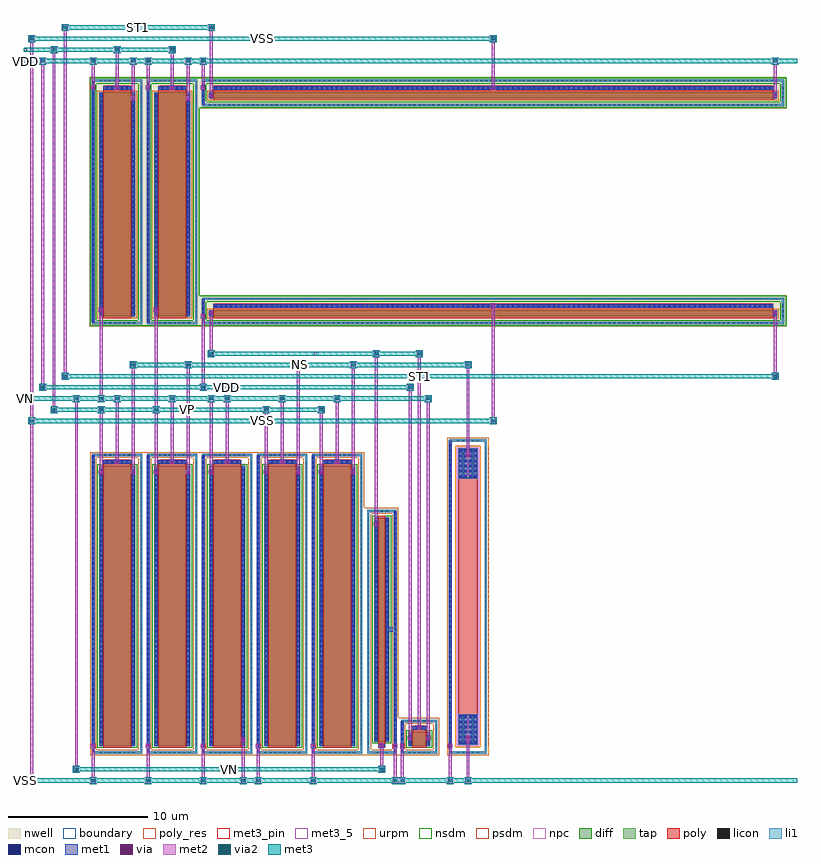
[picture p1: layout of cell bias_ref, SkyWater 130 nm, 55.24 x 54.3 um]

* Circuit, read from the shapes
.subckt bias_ref NS ST ST1 VDD VN VP VSS
XM1 NS VN VP VSS sky130_fd_pr__nfet_01v8 w=20 l=2 m=4
XM2 VSS VN VN VSS sky130_fd_pr__nfet_01v8 w=20 l=2
XM3 VSS VN ST VSS sky130_fd_pr__nfet_01v8 w=16 l=0.5
XM4 VN ST VDD VSS sky130_fd_pr__nfet_01v8 w=1 l=1
XM5 VDD VP VN VDD sky130_fd_pr__pfet_01v8 w=16 l=2
XM6 VDD VP VP VDD sky130_fd_pr__pfet_01v8 w=16 l=2
XM7 ST1 VSS ST VDD sky130_fd_pr__pfet_01v8 w=0.42 l=40
XM8 VDD VSS ST1 VDD sky130_fd_pr__pfet_01v8 w=0.42 l=40
XR9 NS VSS VSS sky130_fd_pr__res_xhigh_po w=1.41 l=16.88
.ends

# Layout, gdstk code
import gdstk
lib = gdstk.Library(unit=1e-6, precision=1e-09)
def R(c, l, rs):  # rectangles x0, y0, x1, y1
    for r in rs: c.add(gdstk.rectangle(r[:2], r[2:], *l))
def A(c, l, x, y, w, h, nx, ny, dx, dy):  # array of equal rectangles
    R(c, l, [(x+i*dx, y+j*dy, x+i*dx+w, y+j*dy+h) for i in range(nx) for j in range(ny)])
nwell = (64, 20)
diff = (65, 20)
tap = (65, 44)
poly_res = (66, 13)
poly = (66, 20)
licon = (66, 44)
li1 = (67, 20)
mcon = (67, 44)
met1 = (68, 20)
via = (68, 44)
met2 = (69, 20)
via2 = (69, 44)
met3_5 = (70, 5)
met3_pin = (70, 16)
met3 = (70, 20)
urpm = (79, 20)
nsdm = (93, 44)
psdm = (94, 20)
npc = (95, 20)
boundary = (235, 4)

nfet_botc0_guard1_l2_nf1 = lib.new_cell('nfet_botc0_guard1_l2_nf1_topc1_viagl100_w20')
R(nfet_botc0_guard1_l2_nf1, diff, [(-1.29,-10.155,1.29,9.845)])
R(nfet_botc0_guard1_l2_nf1, tap, [(-1.8,-10.715,1.8,-10.545), (-1.8,-10.545,-1.63,10.545), (1.63,-10.545,1.8,10.545), (-1.8,10.545,1.8,10.715)])
R(nfet_botc0_guard1_l2_nf1, poly, [(-1,-10.285,1,10.285)])
A(nfet_botc0_guard1_l2_nf1, licon, -1.275, -10.715, 0.17, 0.17, 8, 2, 0.34, 21.26)
A(nfet_botc0_guard1_l2_nf1, licon, -1.8, -10.115, 0.17, 0.17, 1, 60, 0, 0.34)
A(nfet_botc0_guard1_l2_nf1, licon, 1.63, -10.115, 0.17, 0.17, 1, 60, 0, 0.34)
A(nfet_botc0_guard1_l2_nf1, licon, -1.23, -9.93, 0.17, 0.17, 1, 58, 0, 0.34)
A(nfet_botc0_guard1_l2_nf1, licon, 1.06, -9.93, 0.17, 0.17, 1, 58, 0, 0.34)
A(nfet_botc0_guard1_l2_nf1, licon, -0.765, 10.035, 0.17, 0.17, 5, 1, 0.34, 0)
R(nfet_botc0_guard1_l2_nf1, li1, [(-1.8,-10.715,1.8,-10.545), (-1.8,-10.545,-1.63,10.545), (1.63,-10.545,1.8,10.545), (-1.23,-10.175,-1.06,9.865), (1.06,-10.175,1.23,9.865), (-1,10.035,1,10.205), (-1.8,10.545,1.8,10.715)])
A(nfet_botc0_guard1_l2_nf1, mcon, -1.8, -10.525, 0.17, 0.17, 1, 59, 0, 0.36)
A(nfet_botc0_guard1_l2_nf1, mcon, -1.23, -9.96, 0.17, 0.17, 1, 55, 0, 0.36)
A(nfet_botc0_guard1_l2_nf1, mcon, 1.06, -9.96, 0.17, 0.17, 1, 55, 0, 0.36)
A(nfet_botc0_guard1_l2_nf1, mcon, -0.805, 10.035, 0.17, 0.17, 5, 1, 0.36, 0)
R(nfet_botc0_guard1_l2_nf1, met1, [(-1.83,-10.605,-1.6,10.605), (-1.26,-10.155,-1.03,9.845), (1.03,-10.155,1.26,9.845), (-0.98,10.005,0.98,10.235)])
R(nfet_botc0_guard1_l2_nf1, nsdm, [(-1.415,-10.28,1.415,9.97)])
R(nfet_botc0_guard1_l2_nf1, psdm, [(-1.925,-10.84,1.925,-10.42), (-1.925,-10.42,-1.505,10.42), (1.505,-10.42,1.925,10.42), (-1.925,10.42,1.925,10.84)])
R(nfet_botc0_guard1_l2_nf1, npc, [(-0.865,9.935,0.865,10.305)])
R(nfet_botc0_guard1_l2_nf1, boundary, [(-1.715,-10.63,1.715,10.63)])
nfet_botc0_guard1_l2_nf1.add(gdstk.Label('B', (0,-10.63), layer=67, texttype=5))
nfet_botc0_guard1_l2_nf1.add(gdstk.Label('D', (-1.145,-0.155), layer=67, texttype=5))
nfet_botc0_guard1_l2_nf1.add(gdstk.Label('S', (1.145,-0.155), layer=67, texttype=5))
nfet_botc0_guard1_l2_nf1.add(gdstk.Label('G', (0,10.12), layer=67, texttype=5))

nfet_botc0_guard1_l0p5_n = lib.new_cell('nfet_botc0_guard1_l0p5_nf1_topc1_viagr100_w16')
R(nfet_botc0_guard1_l0p5_n, diff, [(-0.54,-8.155,0.54,7.845)])
R(nfet_botc0_guard1_l0p5_n, tap, [(-1.05,-8.715,1.05,-8.545), (-1.05,-8.545,-0.88,8.545), (0.88,-8.545,1.05,8.545), (-1.05,8.545,1.05,8.715)])
R(nfet_botc0_guard1_l0p5_n, poly, [(-0.25,-8.285,0.25,8.285)])
A(nfet_botc0_guard1_l0p5_n, licon, -0.425, -8.715, 0.17, 0.17, 3, 2, 0.34, 17.26)
A(nfet_botc0_guard1_l0p5_n, licon, -1.05, -8.075, 0.17, 0.17, 1, 48, 0, 0.34)
A(nfet_botc0_guard1_l0p5_n, licon, 0.88, -8.075, 0.17, 0.17, 1, 48, 0, 0.34)
A(nfet_botc0_guard1_l0p5_n, licon, -0.48, -8.06, 0.17, 0.17, 1, 47, 0, 0.34)
A(nfet_botc0_guard1_l0p5_n, licon, 0.31, -8.06, 0.17, 0.17, 1, 47, 0, 0.34)
R(nfet_botc0_guard1_l0p5_n, licon, [(-0.085,8.035,0.085,8.205)])
R(nfet_botc0_guard1_l0p5_n, li1, [(-1.05,-8.715,1.05,-8.545), (-1.05,-8.545,-0.88,8.545), (0.88,-8.545,1.05,8.545), (-0.48,-8.175,-0.31,7.865), (0.31,-8.175,0.48,7.865), (-0.25,8.035,0.25,8.205), (-1.05,8.545,1.05,8.715)])
A(nfet_botc0_guard1_l0p5_n, mcon, 0.88, -8.545, 0.17, 0.17, 1, 48, 0, 0.36)
A(nfet_botc0_guard1_l0p5_n, mcon, -0.48, -7.98, 0.17, 0.17, 1, 44, 0, 0.36)
A(nfet_botc0_guard1_l0p5_n, mcon, 0.31, -7.98, 0.17, 0.17, 1, 44, 0, 0.36)
R(nfet_botc0_guard1_l0p5_n, mcon, [(-0.085,8.035,0.085,8.205)])
R(nfet_botc0_guard1_l0p5_n, met1, [(0.85,-8.605,1.08,8.605), (-0.51,-8.155,-0.28,7.845), (0.28,-8.155,0.51,7.845), (-0.23,8.005,0.23,8.235)])
R(nfet_botc0_guard1_l0p5_n, nsdm, [(-0.665,-8.28,0.665,7.97)])
R(nfet_botc0_guard1_l0p5_n, psdm, [(-1.175,-8.84,1.175,-8.42), (-1.175,-8.42,-0.755,8.42), (0.755,-8.42,1.175,8.42), (-1.175,8.42,1.175,8.84)])
R(nfet_botc0_guard1_l0p5_n, npc, [(-0.185,7.935,0.185,8.305)])
R(nfet_botc0_guard1_l0p5_n, boundary, [(-0.965,-8.63,0.965,8.63)])
nfet_botc0_guard1_l0p5_n.add(gdstk.Label('B', (0,-8.63), layer=67, texttype=5))
nfet_botc0_guard1_l0p5_n.add(gdstk.Label('D', (-0.395,-0.155), layer=67, texttype=5))
nfet_botc0_guard1_l0p5_n.add(gdstk.Label('S', (0.395,-0.155), layer=67, texttype=5))
nfet_botc0_guard1_l0p5_n.add(gdstk.Label('G', (0,8.12), layer=67, texttype=5))

nfet_botc0_guard1_l1_nf1 = lib.new_cell('nfet_botc0_guard1_l1_nf1_topc1_viagl100_w1')
R(nfet_botc0_guard1_l1_nf1, diff, [(-0.79,-0.655,0.79,0.345)])
R(nfet_botc0_guard1_l1_nf1, tap, [(-1.3,-1.215,1.3,-1.045), (-1.3,-1.045,-1.13,1.045), (1.13,-1.045,1.3,1.045), (-1.3,1.045,1.3,1.215)])
R(nfet_botc0_guard1_l1_nf1, poly, [(-0.5,-0.785,0.5,0.785)])
A(nfet_botc0_guard1_l1_nf1, licon, -0.765, -1.215, 0.17, 0.17, 5, 2, 0.34, 2.26)
A(nfet_botc0_guard1_l1_nf1, licon, -1.3, -0.595, 0.17, 0.17, 1, 4, 0, 0.34)
A(nfet_botc0_guard1_l1_nf1, licon, 1.13, -0.595, 0.17, 0.17, 1, 4, 0, 0.34)
A(nfet_botc0_guard1_l1_nf1, licon, -0.73, -0.58, 0.17, 0.17, 1, 3, 0, 0.34)
A(nfet_botc0_guard1_l1_nf1, licon, 0.56, -0.58, 0.17, 0.17, 1, 3, 0, 0.34)
R(nfet_botc0_guard1_l1_nf1, licon, [(-0.255,0.535,-0.085,0.705), (0.085,0.535,0.255,0.705)])
R(nfet_botc0_guard1_l1_nf1, li1, [(-1.3,-1.215,1.3,-1.045), (-1.3,-1.045,-1.13,1.045), (1.13,-1.045,1.3,1.045), (-0.73,-0.675,-0.56,0.365), (0.56,-0.675,0.73,0.365), (-0.5,0.535,0.5,0.705), (-1.3,1.045,1.3,1.215)])
A(nfet_botc0_guard1_l1_nf1, mcon, -1.3, -0.985, 0.17, 0.17, 1, 6, 0, 0.36)
R(nfet_botc0_guard1_l1_nf1, mcon, [(-0.73,-0.42,-0.56,-0.25), (0.56,-0.42,0.73,-0.25), (-0.73,-0.06,-0.56,0.11), (0.56,-0.06,0.73,0.11), (-0.265,0.535,-0.095,0.705), (0.095,0.535,0.265,0.705)])
R(nfet_botc0_guard1_l1_nf1, met1, [(-1.33,-1.105,-1.1,1.105), (-0.76,-0.655,-0.53,0.345), (0.53,-0.655,0.76,0.345), (-0.48,0.505,0.48,0.735)])
R(nfet_botc0_guard1_l1_nf1, nsdm, [(-0.915,-0.78,0.915,0.47)])
R(nfet_botc0_guard1_l1_nf1, psdm, [(-1.425,-1.34,1.425,-0.92), (-1.425,-0.92,-1.005,0.92), (1.005,-0.92,1.425,0.92), (-1.425,0.92,1.425,1.34)])
R(nfet_botc0_guard1_l1_nf1, npc, [(-0.355,0.435,0.355,0.805)])
R(nfet_botc0_guard1_l1_nf1, boundary, [(-1.215,-1.13,1.215,1.13)])
nfet_botc0_guard1_l1_nf1.add(gdstk.Label('B', (0,-1.13), layer=67, texttype=5))
nfet_botc0_guard1_l1_nf1.add(gdstk.Label('D', (-0.645,-0.155), layer=67, texttype=5))
nfet_botc0_guard1_l1_nf1.add(gdstk.Label('S', (0.645,-0.155), layer=67, texttype=5))
nfet_botc0_guard1_l1_nf1.add(gdstk.Label('G', (0,0.62), layer=67, texttype=5))

rxh141_guard1_l17_viagl1 = lib.new_cell('rxh141_guard1_l17_viagl100')
R(rxh141_guard1_l17_viagl1, tap, [(-1.355,-11.23,1.355,-11.06), (-1.355,-11.06,-1.185,11.06), (1.185,-11.06,1.355,11.06), (-1.355,11.06,1.355,11.23)])
R(rxh141_guard1_l17_viagl1, poly_res, [(-0.705,-8.5,0.705,8.5)])
R(rxh141_guard1_l17_viagl1, poly, [(-0.705,-10.58,0.705,10.58)])
A(rxh141_guard1_l17_viagl1, licon, -0.765, -11.23, 0.17, 0.17, 5, 2, 0.34, 22.29)
A(rxh141_guard1_l17_viagl1, licon, -1.355, -10.625, 0.17, 0.17, 1, 63, 0, 0.34)
A(rxh141_guard1_l17_viagl1, licon, 1.185, -10.625, 0.17, 0.17, 1, 63, 0, 0.34)
R(rxh141_guard1_l17_viagl1, licon, [(-0.45,-10.5,-0.26,-8.5), (0.26,-10.5,0.45,-8.5), (-0.45,8.5,-0.26,10.5), (0.26,8.5,0.45,10.5)])
R(rxh141_guard1_l17_viagl1, li1, [(-1.355,-11.23,1.355,-11.06), (-1.355,-11.06,-1.185,11.06), (1.185,-11.06,1.355,11.06), (-0.705,-10.58,0.705,-8.42), (-0.705,8.42,0.705,10.58), (-1.355,11.06,1.355,11.23)])
A(rxh141_guard1_l17_viagl1, mcon, -1.355, -10.885, 0.17, 0.17, 1, 61, 0, 0.36)
A(rxh141_guard1_l17_viagl1, mcon, -0.625, -10.485, 0.17, 0.17, 4, 6, 0.36, 0.36)
A(rxh141_guard1_l17_viagl1, mcon, -0.625, 8.51, 0.17, 0.17, 4, 6, 0.36, 0.36)
R(rxh141_guard1_l17_viagl1, met1, [(-1.385,-11.12,-1.155,11.12), (-0.655,-10.55,0.655,-8.445), (-0.655,8.445,0.655,10.55)])
R(rxh141_guard1_l17_viagl1, urpm, [(-0.905,-10.78,0.905,10.78)])
R(rxh141_guard1_l17_viagl1, psdm, [(-1.48,-11.355,1.48,11.355)])
R(rxh141_guard1_l17_viagl1, npc, [(-0.8,-10.675,0.8,10.675)])
R(rxh141_guard1_l17_viagl1, boundary, [(-1.27,-11.145,1.27,11.145)])
rxh141_guard1_l17_viagl1.add(gdstk.Label('B', (0,-11.145), layer=67, texttype=5))
rxh141_guard1_l17_viagl1.add(gdstk.Label('R1', (0,10.405), layer=67, texttype=5))
rxh141_guard1_l17_viagl1.add(gdstk.Label('R2', (0,-10.405), layer=67, texttype=5))

pfet_botc0_guard1_l2_nf1 = lib.new_cell('pfet_botc0_guard1_l2_nf1_topc1_viagl100_w16')
R(pfet_botc0_guard1_l2_nf1, nwell, [(-1.98,-8.92,1.98,8.92)])
R(pfet_botc0_guard1_l2_nf1, diff, [(-1.29,-8.18,1.29,7.82)])
R(pfet_botc0_guard1_l2_nf1, tap, [(-1.8,-8.74,1.8,-8.57), (-1.8,-8.57,-1.63,8.57), (1.63,-8.57,1.8,8.57), (-1.8,8.57,1.8,8.74)])
R(pfet_botc0_guard1_l2_nf1, poly, [(-1,-8.31,1,8.305)])
A(pfet_botc0_guard1_l2_nf1, licon, -1.275, -8.74, 0.17, 0.17, 8, 2, 0.34, 17.31)
A(pfet_botc0_guard1_l2_nf1, licon, -1.8, -8.245, 0.17, 0.17, 1, 49, 0, 0.34)
A(pfet_botc0_guard1_l2_nf1, licon, 1.63, -8.245, 0.17, 0.17, 1, 49, 0, 0.34)
A(pfet_botc0_guard1_l2_nf1, licon, -1.23, -8.085, 0.17, 0.17, 1, 47, 0, 0.34)
A(pfet_botc0_guard1_l2_nf1, licon, 1.06, -8.085, 0.17, 0.17, 1, 47, 0, 0.34)
A(pfet_botc0_guard1_l2_nf1, licon, -0.765, 8.055, 0.17, 0.17, 5, 1, 0.34, 0)
R(pfet_botc0_guard1_l2_nf1, li1, [(-1.8,-8.74,1.8,-8.57), (-1.8,-8.57,-1.63,8.57), (1.63,-8.57,1.8,8.57), (-1.23,-8.2,-1.06,7.84), (1.06,-8.2,1.23,7.84), (-1,8.055,1,8.225), (-1.8,8.57,1.8,8.74)])
A(pfet_botc0_guard1_l2_nf1, mcon, -1.8, -8.545, 0.17, 0.17, 1, 48, 0, 0.36)
A(pfet_botc0_guard1_l2_nf1, mcon, -1.23, -8.005, 0.17, 0.17, 1, 44, 0, 0.36)
A(pfet_botc0_guard1_l2_nf1, mcon, 1.06, -8.005, 0.17, 0.17, 1, 44, 0, 0.36)
A(pfet_botc0_guard1_l2_nf1, mcon, -0.805, 8.055, 0.17, 0.17, 5, 1, 0.36, 0)
R(pfet_botc0_guard1_l2_nf1, met1, [(-1.83,-8.63,-1.6,8.63), (-1.26,-8.18,-1.03,7.82), (1.03,-8.18,1.26,7.82), (-0.98,8.025,0.98,8.255)])
R(pfet_botc0_guard1_l2_nf1, nsdm, [(-1.925,-8.865,1.925,-8.445), (-1.925,-8.445,-1.505,8.445), (1.505,-8.445,1.925,8.445), (-1.925,8.445,1.925,8.865)])
R(pfet_botc0_guard1_l2_nf1, psdm, [(-1.415,-8.305,1.415,7.945)])
R(pfet_botc0_guard1_l2_nf1, npc, [(-0.865,7.955,0.865,8.325)])
R(pfet_botc0_guard1_l2_nf1, boundary, [(-1.715,-8.655,1.715,8.655)])
pfet_botc0_guard1_l2_nf1.add(gdstk.Label('B', (0,-8.655), layer=67, texttype=5))
pfet_botc0_guard1_l2_nf1.add(gdstk.Label('D', (-1.145,-0.18), layer=67, texttype=5))
pfet_botc0_guard1_l2_nf1.add(gdstk.Label('S', (1.145,-0.18), layer=67, texttype=5))
pfet_botc0_guard1_l2_nf1.add(gdstk.Label('G', (0,8.14), layer=67, texttype=5))

pfet_botc0_guard1_l40_nf = lib.new_cell('pfet_botc0_guard1_l40_nf1_topc1_viagl100_w0p42')
R(pfet_botc0_guard1_l40_nf, nwell, [(-20.98,-1.13,20.98,1.13)])
R(pfet_botc0_guard1_l40_nf, diff, [(-20.29,-0.39,20.29,0.03)])
R(pfet_botc0_guard1_l40_nf, tap, [(-20.8,-0.95,20.8,-0.78), (-20.8,-0.78,-20.63,0.78), (20.63,-0.78,20.8,0.78), (-20.8,0.78,20.8,0.95)])
R(pfet_botc0_guard1_l40_nf, poly, [(-20,-0.52,20,0.515)])
A(pfet_botc0_guard1_l40_nf, licon, -20.315, -0.95, 0.17, 0.17, 120, 2, 0.34, 1.73)
A(pfet_botc0_guard1_l40_nf, licon, -20.8, -0.425, 0.17, 0.17, 1, 3, 0, 0.34)
A(pfet_botc0_guard1_l40_nf, licon, 20.63, -0.425, 0.17, 0.17, 1, 3, 0, 0.34)
A(pfet_botc0_guard1_l40_nf, licon, -19.805, 0.265, 0.17, 0.17, 117, 1, 0.34, 0)
R(pfet_botc0_guard1_l40_nf, licon, [(-20.23,-0.265,-20.06,-0.095), (20.06,-0.265,20.23,-0.095)])
R(pfet_botc0_guard1_l40_nf, li1, [(-20.8,-0.95,20.8,-0.78), (-20.8,-0.78,-20.63,0.78), (20.63,-0.78,20.8,0.78), (-20.23,-0.41,-20.06,0.05), (20.06,-0.41,20.23,0.05), (-20,0.265,20,0.435), (-20.8,0.78,20.8,0.95)])
A(pfet_botc0_guard1_l40_nf, mcon, -20.8, -0.625, 0.17, 0.17, 1, 4, 0, 0.36)
A(pfet_botc0_guard1_l40_nf, mcon, -19.885, 0.265, 0.17, 0.17, 111, 1, 0.36, 0)
R(pfet_botc0_guard1_l40_nf, mcon, [(-20.23,-0.265,-20.06,-0.095), (20.06,-0.265,20.23,-0.095)])
R(pfet_botc0_guard1_l40_nf, met1, [(-20.83,-0.84,-20.6,0.84), (-20.26,-0.39,-20.03,0.03), (20.03,-0.39,20.26,0.03), (-19.98,0.235,19.98,0.465)])
R(pfet_botc0_guard1_l40_nf, nsdm, [(-20.925,-1.075,20.925,-0.655), (-20.925,-0.655,-20.505,0.655), (20.505,-0.655,20.925,0.655), (-20.925,0.655,20.925,1.075)])
R(pfet_botc0_guard1_l40_nf, psdm, [(-20.415,-0.515,20.415,0.155)])
R(pfet_botc0_guard1_l40_nf, npc, [(-19.905,0.165,19.905,0.535)])
R(pfet_botc0_guard1_l40_nf, boundary, [(-20.715,-0.865,20.715,0.865)])
pfet_botc0_guard1_l40_nf.add(gdstk.Label('B', (0,-0.865), layer=67, texttype=5))
pfet_botc0_guard1_l40_nf.add(gdstk.Label('D', (-20.145,-0.18), layer=67, texttype=5))
pfet_botc0_guard1_l40_nf.add(gdstk.Label('S', (20.145,-0.18), layer=67, texttype=5))
pfet_botc0_guard1_l40_nf.add(gdstk.Label('G', (0,0.35), layer=67, texttype=5))

bias_ref = lib.new_cell('bias_ref')
A(bias_ref, met1, 5.04, 2.915, 0.32, 0.32, 5, 1, 3.93, 0)
A(bias_ref, met1, 6.755, 23.235, 0.32, 0.32, 5, 1, 3.93, 0)
A(bias_ref, met1, 5.04, 49.965, 0.32, 0.32, 3, 1, 3.93, 0)
R(bias_ref, met1, [(25.655,2.905,25.975,3.225), (26.62,2.915,26.94,3.235), (27.12,2.915,27.44,3.235), (30.55,2.915,30.87,3.235), (15.76,3.365,16.08,3.685), (27.69,3.465,28.01,3.785), (28.98,3.465,29.3,3.785), (31.82,3.485,32.14,3.805), (28.335,4.235,28.655,4.555), (26.095,11.235,26.895,11.535), (25.26,18.775,25.58,19.095), (5.61,22.465,5.93,22.785), (7.9,22.465,8.22,22.785), (9.54,22.465,9.86,22.785), (11.83,22.465,12.15,22.785), (13.47,22.465,13.79,22.785), (17.4,22.465,17.72,22.785), (19.69,22.465,20.01,22.785), (21.33,22.465,21.65,22.785), (23.62,22.465,23.94,22.785), (31.82,23.685,32.14,24.005), (12.9,33.605,13.22,33.925), (13.47,33.815,13.79,34.135), (53.76,33.815,54.08,34.135), (5.61,34.055,5.93,34.375), (9.54,34.055,9.86,34.375), (33.615,34.39,33.935,34.71), (7.9,49.155,8.22,49.475), (11.83,49.155,12.15,49.475), (13.47,49.395,13.79,49.715), (53.76,49.395,54.08,49.715), (6.755,49.97,7.075,50.29), (10.685,49.97,11.005,50.29), (33.615,49.97,33.935,50.29)])
A(bias_ref, via, 5.125, 3, 0.15, 0.15, 5, 1, 3.93, 0)
A(bias_ref, via, 6.84, 23.32, 0.15, 0.15, 5, 1, 3.93, 0)
A(bias_ref, via, 5.125, 50.05, 0.15, 0.15, 3, 1, 3.93, 0)
R(bias_ref, via, [(25.74,2.99,25.89,3.14), (26.705,3,26.855,3.15), (27.205,3,27.355,3.15), (30.635,3,30.785,3.15), (15.845,3.45,15.995,3.6), (27.775,3.55,27.925,3.7), (29.065,3.55,29.215,3.7), (31.905,3.57,32.055,3.72), (28.42,4.32,28.57,4.47), (25.345,18.86,25.495,19.01), (5.695,22.55,5.845,22.7), (7.985,22.55,8.135,22.7), (9.625,22.55,9.775,22.7), (11.915,22.55,12.065,22.7), (13.555,22.55,13.705,22.7), (17.485,22.55,17.635,22.7), (19.775,22.55,19.925,22.7), (21.415,22.55,21.565,22.7), (23.705,22.55,23.855,22.7), (31.905,23.77,32.055,23.92), (12.985,33.69,13.135,33.84), (13.555,33.9,13.705,34.05), (53.845,33.9,53.995,34.05), (5.695,34.14,5.845,34.29), (9.625,34.14,9.775,34.29), (33.7,34.475,33.85,34.625), (7.985,49.24,8.135,49.39), (11.915,49.24,12.065,49.39), (13.555,49.48,13.705,49.63), (53.845,49.48,53.995,49.63), (6.84,50.055,6.99,50.205), (10.77,50.055,10.92,50.205), (33.7,50.055,33.85,50.205)])
A(bias_ref, met2, 5.015, 0.415, 0.37, 0.37, 3, 1, 3.93, 0)
A(bias_ref, met2, 5.1, 0.785, 0.2, 2.13, 5, 1, 3.93, 0)
A(bias_ref, met2, 5.04, 2.915, 0.32, 0.32, 5, 1, 3.93, 0)
A(bias_ref, met2, 6.755, 23.235, 0.32, 0.32, 5, 1, 3.93, 0)
A(bias_ref, met2, 6.815, 23.555, 0.2, 4.15, 5, 1, 3.93, 0)
A(bias_ref, met2, 14.59, 27.705, 0.37, 0.37, 3, 1, 3.93, 0)
A(bias_ref, met2, 5.04, 49.965, 0.32, 0.32, 3, 1, 3.93, 0)
A(bias_ref, met2, 5.1, 50.285, 0.2, 1.53, 3, 1, 3.93, 0)
R(bias_ref, met2, [(0.615,0.415,0.985,0.785), (15.735,0.415,16.105,0.785), (16.805,0.415,17.175,0.785), (20.735,0.415,21.105,0.785), (26.595,0.415,27.465,0.785), (30.525,0.415,30.895,0.785), (31.795,0.415,32.165,0.785), (0.7,0.785,0.9,26.105), (15.82,0.785,16.02,3.365), (26.68,0.785,26.88,2.915), (27.18,0.785,27.38,2.915), (30.61,0.785,30.81,2.915), (31.88,0.785,32.08,3.485), (3.815,1.215,4.185,1.585), (25.63,1.215,26,1.585), (3.9,1.585,4.1,27.705), (25.715,1.585,25.915,2.905), (25.655,2.905,25.975,3.225), (26.62,2.915,26.94,3.235), (27.12,2.915,27.44,3.235), (30.55,2.915,30.87,3.235), (15.76,3.365,16.08,3.685), (27.69,3.465,28.01,3.785), (28.98,3.465,29.3,3.785), (31.82,3.485,32.14,3.805), (27.75,3.785,27.95,28.505), (29.04,3.785,29.24,27.705), (28.335,4.235,28.655,4.555), (28.395,4.555,28.595,30.905), (25.26,18.775,25.58,19.095), (25.32,19.095,25.52,30.905), (5.61,22.465,5.93,22.785), (7.9,22.465,8.22,22.785), (9.54,22.465,9.86,22.785), (11.83,22.465,12.15,22.785), (13.47,22.465,13.79,22.785), (17.4,22.465,17.72,22.785), (19.69,22.465,20.01,22.785), (21.33,22.465,21.65,22.785), (23.62,22.465,23.94,22.785), (5.67,22.785,5.87,26.905), (7.96,22.785,8.16,30.105), (9.6,22.785,9.8,26.905), (11.89,22.785,12.09,30.105), (13.53,22.785,13.73,27.705), (17.46,22.785,17.66,26.905), (19.75,22.785,19.95,30.105), (21.39,22.785,21.59,26.905), (23.68,22.785,23.88,30.105), (31.82,23.685,32.14,24.005), (31.88,24.005,32.08,30.105), (0.615,26.105,0.985,26.475), (33.59,26.105,33.96,26.475), (0.7,26.475,0.9,53.415), (33.675,26.475,33.875,34.39), (2.215,26.905,2.585,27.275), (5.585,26.905,5.955,27.275), (9.515,26.905,9.885,27.275), (17.375,26.905,17.745,27.275), (21.305,26.905,21.675,27.275), (2.3,27.275,2.5,52.615), (9.6,27.275,9.8,34.055), (3.815,27.705,4.185,28.075), (5.585,27.705,5.955,28.075), (6.73,27.705,7.1,28.075), (10.66,27.705,11.03,28.075), (13.445,27.705,13.815,28.075), (28.955,27.705,29.325,28.075), (5.67,28.075,5.87,34.055), (1.415,28.505,1.785,28.875), (12.875,28.505,13.245,28.875), (27.665,28.505,28.035,28.875), (1.5,28.875,1.7,51.815), (12.96,28.875,13.16,33.605), (3.015,29.305,3.385,29.675), (53.735,29.305,54.105,29.675), (3.1,29.675,3.3,54.215), (53.82,29.675,54.02,33.815), (7.875,30.105,8.245,30.475), (11.805,30.105,12.175,30.475), (19.665,30.105,20.035,30.475), (23.595,30.105,23.965,30.475), (31.795,30.105,32.165,30.475), (13.445,30.905,13.815,31.275), (25.235,30.905,25.605,31.275), (28.31,30.905,28.68,31.275), (13.53,31.275,13.73,33.815), (12.9,33.605,13.22,33.925), (13.47,33.815,13.79,34.135), (53.76,33.815,54.08,34.135), (5.61,34.055,5.93,34.375), (9.54,34.055,9.86,34.375), (33.615,34.39,33.935,34.71), (7.9,49.155,8.22,49.475), (11.83,49.155,12.15,49.475), (13.47,49.395,13.79,49.715), (53.76,49.395,54.08,49.715), (7.96,49.475,8.16,51.815), (11.89,49.475,12.09,51.815), (13.53,49.715,13.73,54.215), (53.82,49.715,54.02,51.815), (6.755,49.97,7.075,50.29), (10.685,49.97,11.005,50.29), (33.615,49.97,33.935,50.29), (6.815,50.29,7.015,52.615), (10.745,50.29,10.945,52.615), (33.675,50.29,33.875,53.415), (1.415,51.815,1.785,52.185), (5.015,51.815,5.385,52.185), (7.875,51.815,8.245,52.185), (8.945,51.815,9.315,52.185), (11.805,51.815,12.175,52.185), (12.875,51.815,13.245,52.185), (53.735,51.815,54.105,52.185), (2.215,52.615,2.585,52.985), (6.73,52.615,7.1,52.985), (10.66,52.615,11.03,52.985), (0.615,53.415,0.985,53.785), (33.59,53.415,33.96,53.785), (3.015,54.215,3.385,54.585), (13.445,54.215,13.815,54.585)])
A(bias_ref, via2, 5.1, 0.5, 0.2, 0.2, 3, 1, 3.93, 0)
A(bias_ref, via2, 14.675, 27.79, 0.2, 0.2, 3, 1, 3.93, 0)
R(bias_ref, via2, [(0.7,0.5,0.9,0.7), (15.82,0.5,16.02,0.7), (16.89,0.5,17.09,0.7), (20.82,0.5,21.02,0.7), (26.68,0.5,26.88,0.7), (27.18,0.5,27.38,0.7), (30.61,0.5,30.81,0.7), (31.88,0.5,32.08,0.7), (3.9,1.3,4.1,1.5), (25.715,1.3,25.915,1.5), (0.7,26.19,0.9,26.39), (33.675,26.19,33.875,26.39), (2.3,26.99,2.5,27.19), (5.67,26.99,5.87,27.19), (9.6,26.99,9.8,27.19), (17.46,26.99,17.66,27.19), (21.39,26.99,21.59,27.19), (3.9,27.79,4.1,27.99), (5.67,27.79,5.87,27.99), (6.815,27.79,7.015,27.99), (10.745,27.79,10.945,27.99), (13.53,27.79,13.73,27.99), (29.04,27.79,29.24,27.99), (1.5,28.59,1.7,28.79), (12.96,28.59,13.16,28.79), (27.75,28.59,27.95,28.79), (3.1,29.39,3.3,29.59), (53.82,29.39,54.02,29.59), (7.96,30.19,8.16,30.39), (11.89,30.19,12.09,30.39), (19.75,30.19,19.95,30.39), (23.68,30.19,23.88,30.39), (31.88,30.19,32.08,30.39), (13.53,30.99,13.73,31.19), (25.32,30.99,25.52,31.19), (28.395,30.99,28.595,31.19), (1.5,51.9,1.7,52.1), (5.1,51.9,5.3,52.1), (7.96,51.9,8.16,52.1), (9.03,51.9,9.23,52.1), (11.89,51.9,12.09,52.1), (12.96,51.9,13.16,52.1), (53.82,51.9,54.02,52.1), (2.3,52.7,2.5,52.9), (6.815,52.7,7.015,52.9), (10.745,52.7,10.945,52.9), (0.7,53.5,0.9,53.7), (33.675,53.5,33.875,53.7), (3.1,54.3,3.3,54.5), (13.53,54.3,13.73,54.5)])
R(bias_ref, met3_5, [(14.81,1.3,15.01,1.5), (17.185,26.19,17.385,26.39), (11.845,26.99,12.045,27.19), (14.625,28.59,14.825,28.79), (28.46,29.39,28.66,29.59), (19.92,30.19,20.12,30.39), (20.96,30.99,21.16,31.19), (17.185,53.5,17.385,53.7), (8.315,54.3,8.515,54.5)])
R(bias_ref, met3_pin, [(0.25,0.5,0.45,0.7), (0.25,27.79,0.45,27.99), (0.25,51.9,0.45,52.1), (0.25,52.7,0.45,52.9)])
A(bias_ref, met3, 4.95, 0.35, 0.5, 0.1, 3, 2, 3.93, 0.4)
A(bias_ref, met3, 5.52, 26.84, 0.5, 0.1, 1, 4, 0, 0.4)
A(bias_ref, met3, 14.525, 27.64, 0.5, 0.1, 3, 2, 3.93, 0.4)
R(bias_ref, met3, [(0.55,0.35,1.05,0.45), (15.67,0.35,16.17,0.45), (16.74,0.35,17.24,0.45), (20.67,0.35,21.17,0.45), (26.53,0.35,27.53,0.45), (30.46,0.35,30.96,0.45), (31.73,0.35,32.23,0.45), (0.25,0.45,55.49,0.75), (0.55,0.75,1.05,0.85), (15.67,0.75,16.17,0.85), (16.74,0.75,17.24,0.85), (20.67,0.75,21.17,0.85), (26.53,0.75,27.53,0.85), (30.46,0.75,30.96,0.85), (31.73,0.75,32.23,0.85), (3.75,1.15,4.25,1.25), (25.565,1.15,26.065,1.25), (3.75,1.25,26.065,1.55), (3.75,1.55,4.25,1.65), (25.565,1.55,26.065,1.65), (0.55,26.04,1.05,26.14), (33.525,26.04,34.025,26.14), (0.55,26.14,34.025,26.44), (0.55,26.44,1.05,26.54), (33.525,26.44,34.025,26.54), (2.15,26.84,2.65,26.94), (9.45,26.84,9.95,26.94), (17.31,26.84,17.81,26.94), (21.24,26.84,21.74,26.94), (2.15,26.94,21.74,27.24), (2.15,27.24,2.65,27.34), (9.45,27.24,9.95,27.34), (17.31,27.24,17.81,27.34), (21.24,27.24,21.74,27.34), (3.75,27.64,4.25,27.74), (6.665,27.64,7.165,27.74), (10.595,27.64,11.095,27.74), (13.38,27.64,13.88,27.74), (28.89,27.64,29.39,27.74), (0.25,27.74,29.39,28.04), (3.75,28.04,4.25,28.14), (6.665,28.04,7.165,28.14), (10.595,28.04,11.095,28.14), (13.38,28.04,13.88,28.14), (28.89,28.04,29.39,28.14), (1.35,28.44,1.85,28.54), (12.81,28.44,13.31,28.54), (27.6,28.44,28.1,28.54), (1.35,28.54,28.1,28.84), (1.35,28.84,1.85,28.94), (12.81,28.84,13.31,28.94), (27.6,28.84,28.1,28.94), (2.95,29.24,3.45,29.34), (53.67,29.24,54.17,29.34), (2.95,29.34,54.17,29.64), (2.95,29.64,3.45,29.74), (53.67,29.64,54.17,29.74), (7.81,30.04,8.31,30.14), (11.74,30.04,12.24,30.14), (19.6,30.04,20.1,30.14), (23.53,30.04,24.03,30.14), (31.73,30.04,32.23,30.14), (7.81,30.14,32.23,30.44), (7.81,30.44,8.31,30.54), (11.74,30.44,12.24,30.54), (19.6,30.44,20.1,30.54), (23.53,30.44,24.03,30.54), (31.73,30.44,32.23,30.54), (13.38,30.84,13.88,30.94), (25.17,30.84,25.67,30.94), (28.245,30.84,28.745,30.94), (13.38,30.94,28.745,31.24), (13.38,31.24,13.88,31.34), (25.17,31.24,25.67,31.34), (28.245,31.24,28.745,31.34), (1.35,51.75,1.85,51.85), (4.95,51.75,5.45,51.85), (7.81,51.75,8.31,51.85), (8.88,51.75,9.38,51.85), (11.74,51.75,12.24,51.85), (12.81,51.75,13.31,51.85), (53.67,51.75,54.17,51.85), (0.25,51.85,55.49,52.15), (1.35,52.15,1.85,52.25), (4.95,52.15,5.45,52.25), (7.81,52.15,8.31,52.25), (8.88,52.15,9.38,52.25), (11.74,52.15,12.24,52.25), (12.81,52.15,13.31,52.25), (53.67,52.15,54.17,52.25), (2.15,52.55,2.65,52.65), (6.665,52.55,7.165,52.65), (10.595,52.55,11.095,52.65), (0.25,52.65,11.095,52.95), (2.15,52.95,2.65,53.05), (6.665,52.95,7.165,53.05), (10.595,52.95,11.095,53.05), (0.55,53.35,1.05,53.45), (33.525,53.35,34.025,53.45), (0.55,53.45,34.025,53.75), (0.55,53.75,1.05,53.85), (33.525,53.75,34.025,53.85), (2.95,54.15,3.45,54.25), (13.38,54.15,13.88,54.25), (2.95,54.25,13.88,54.55), (2.95,54.55,3.45,54.65), (13.38,54.55,13.88,54.65)])
R(bias_ref, nsdm, [(8.84,33.08,8.92,50.81), (12.77,33.08,12.85,35.23), (12.77,48.66,12.85,50.81)])
A(bias_ref, psdm, 8.84, 2.39, 0.08, 21.68, 4, 1, 3.93, 0)
R(bias_ref, psdm, [(24.56,2.39,24.64,20.07), (26.99,2.39,27.07,5.07)])
bias_ref.add(gdstk.Reference(nfet_botc0_guard1_l2_nf1, (6.915,13.23)))
bias_ref.add(gdstk.Reference(nfet_botc0_guard1_l2_nf1, (10.845,13.23)))
bias_ref.add(gdstk.Reference(nfet_botc0_guard1_l2_nf1, (14.775,13.23)))
bias_ref.add(gdstk.Reference(nfet_botc0_guard1_l2_nf1, (18.705,13.23)))
bias_ref.add(gdstk.Reference(nfet_botc0_guard1_l2_nf1, (22.635,13.23)))
bias_ref.add(gdstk.Reference(nfet_botc0_guard1_l0p5_n, (25.815,11.23), x_reflection=True))
bias_ref.add(gdstk.Reference(nfet_botc0_guard1_l1_nf1, (28.495,3.73)))
bias_ref.add(gdstk.Reference(rxh141_guard1_l17_viagl1, (31.98,13.745)))
bias_ref.add(gdstk.Reference(pfet_botc0_guard1_l2_nf1, (6.915,41.945)))
bias_ref.add(gdstk.Reference(pfet_botc0_guard1_l2_nf1, (10.845,41.945)))
bias_ref.add(gdstk.Reference(pfet_botc0_guard1_l40_nf, (33.775,34.155)))
bias_ref.add(gdstk.Reference(pfet_botc0_guard1_l40_nf, (33.775,49.735)))
bias_ref.add(gdstk.Label('VN', (14.91,1.4), layer=70, texttype=5))
bias_ref.add(gdstk.Label('VDD', (14.725,28.69), layer=70, texttype=5))
bias_ref.add(gdstk.Label('VSS', (17.285,26.29), layer=70, texttype=5))
bias_ref.add(gdstk.Label('ST1', (28.56,29.49), layer=70, texttype=5))
bias_ref.add(gdstk.Label('VSS', (17.285,53.6), layer=70, texttype=5))
bias_ref.add(gdstk.Label('ST1', (8.415,54.4), layer=70, texttype=5))
bias_ref.add(gdstk.Label('NS', (20.02,30.29), layer=70, texttype=5))
bias_ref.add(gdstk.Label('ST', (21.06,31.09), layer=70, texttype=5))
bias_ref.add(gdstk.Label('VP', (11.945,27.09), layer=70, texttype=5))
bias_ref.add(gdstk.Label('VDD', (0.35,52), layer=70, texttype=5))
bias_ref.add(gdstk.Label('VSS', (0.35,0.6), layer=70, texttype=5))
bias_ref.add(gdstk.Label('VP', (0.35,52.8), layer=70, texttype=5))
bias_ref.add(gdstk.Label('VN', (0.35,27.89), layer=70, texttype=5))

lib.write_gds('bias_ref.gds')
